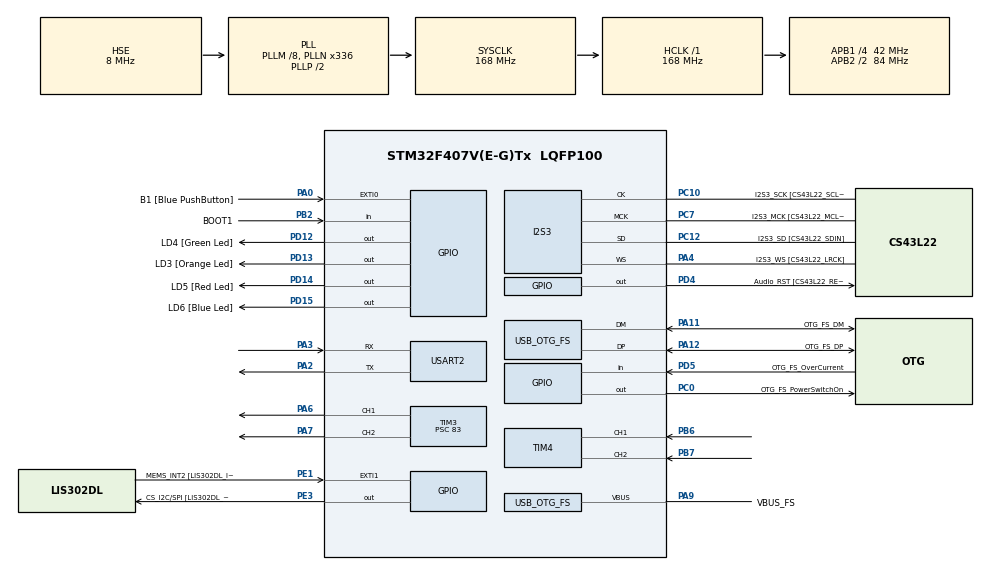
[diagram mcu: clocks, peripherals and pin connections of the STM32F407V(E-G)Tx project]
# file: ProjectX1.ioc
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I2S3.AudioFreq-Half_Duplex_Master=I2S_AUDIOFREQ_96K
I2S3.ErrorAudioFreq=-2.34 %
I2S3.ErrorAudioFreq-Half_Duplex_Master=0.8 %
I2S3.FullDuplexMode=I2S_FULLDUPLEXMODE_DISABLE
I2S3.Instance=SPI$Index
I2S3.RealAudioFreq=93.75 KHz
I2S3.RealAudioFreq-Half_Duplex_Master=96.774 KHz
I2S3.VirtualMode=I2S_MODE_MASTER
Mcu.Family=STM32F4
Mcu.Name=STM32F407V(E-G)Tx
Mcu.Package=LQFP100
NVIC.OTG_FS_IRQn=true\:0\:0\:false\:false\:true\:true\:true\:true
NVIC.PriorityGroup=NVIC_PRIORITYGROUP_0
NVIC.TIM6_DAC_IRQn=true\:0\:0\:false\:false\:true\:true\:true\:true
PA0-WKUP.GPIO_Label=B1 [Blue PushButton]
PA0-WKUP.GPIO_ModeDefaultEXTI=GPIO_MODE_EVT_RISING
PA0-WKUP.GPIO_PuPd=GPIO_NOPULL
PA0-WKUP.Signal=GPXTI0
PA10.GPIO_Label=OTG_FS_ID
PA10.GPIO_Mode=GPIO_MODE_AF_PP
PA10.GPIO_PuPd=GPIO_NOPULL
PA10.GPIO_Speed=GPIO_SPEED_FREQ_LOW
PA10.Signal=USB_OTG_FS_ID
PA11.GPIO_Label=OTG_FS_DM
PA11.GPIO_Mode=GPIO_MODE_AF_PP
PA11.GPIO_PuPd=GPIO_NOPULL
PA11.GPIO_Speed=GPIO_SPEED_FREQ_LOW
PA11.Mode=Host_Only
PA11.Signal=USB_OTG_FS_DM
PA12.GPIO_Label=OTG_FS_DP
PA12.GPIO_Mode=GPIO_MODE_AF_PP
PA12.GPIO_PuPd=GPIO_NOPULL
PA12.GPIO_Speed=GPIO_SPEED_FREQ_LOW
PA12.Mode=Host_Only
PA12.Signal=USB_OTG_FS_DP
PA13.GPIO_Label=SWDIO
PA13.Mode=Serial_Wire
PA13.Signal=SYS_JTMS-SWDIO
PA14.GPIO_Label=SWCLK
PA14.Mode=Serial_Wire
PA14.Signal=SYS_JTCK-SWCLK
PA2.Mode=Asynchronous
PA2.Signal=USART2_TX
PA3.Mode=Asynchronous
PA3.Signal=USART2_RX
PA4.GPIO_Label=I2S3_WS [CS43L22_LRCK]
PA4.GPIO_Mode=GPIO_MODE_AF_PP
PA4.GPIO_PuPd=GPIO_NOPULL
PA4.GPIO_Speed=GPIO_SPEED_FREQ_LOW
PA4.Mode=Half_Duplex_Master
PA4.Signal=I2S3_WS
PA5.GPIO_Label=SPI1_SCK [LIS302DL_SCL/SPC]
PA5.GPIO_Mode=GPIO_MODE_AF_PP
PA5.GPIO_PuPd=GPIO_NOPULL
PA5.GPIO_Speed=GPIO_SPEED_FREQ_LOW
PA5.Signal=SPI1_SCK
PA6.Signal=S_TIM3_CH1
PA7.Signal=S_TIM3_CH2
PA9.GPIO_Label=VBUS_FS
PA9.GPIO_Mode=GPIO_MODE_INPUT
PA9.GPIO_PuPd=GPIO_NOPULL
PA9.Mode=Activate_VBUS
PA9.Signal=USB_OTG_FS_VBUS
PB10.GPIO_Label=CLK_IN [MP45DT02_CLK]
PB10.GPIO_Mode=GPIO_MODE_AF_PP
PB10.GPIO_PuPd=GPIO_NOPULL
PB10.GPIO_Speed=GPIO_SPEED_FREQ_LOW
PB10.Signal=I2S2_CK
PB2.GPIO_Label=BOOT1
PB2.GPIO_Mode=GPIO_MODE_INPUT
PB2.GPIO_PuPd=GPIO_NOPULL
PB2.Signal=GPIO_Input
PB3.GPIO_Label=SWO
PB3.Signal=SYS_JTDO-SWO
PB6.Signal=S_TIM4_CH1
PB7.Signal=S_TIM4_CH2
PB9.GPIO_Label=Audio_SDA [CS43L22_SDA]
PB9.GPIO_Mode=GPIO_MODE_AF_OD
PB9.GPIO_Pu=GPIO_PULLUP
PB9.GPIO_PuPd=GPIO_NOPULL
PB9.GPIO_Speed=GPIO_SPEED_FREQ_LOW
PB9.Signal=I2C1_SDA
PC0.GPIO_Label=OTG_FS_PowerSwitchOn
PC0.GPIO_PuPd=GPIO_NOPULL
PC0.GPIO_Speed=GPIO_SPEED_FREQ_LOW
PC0.PinState=GPIO_PIN_SET
PC0.Signal=GPIO_Output
PC10.GPIO_Label=I2S3_SCK [CS43L22_SCLK]
PC10.GPIO_Mode=GPIO_MODE_AF_PP
PC10.GPIO_PuPd=GPIO_NOPULL
PC10.GPIO_Speed=GPIO_SPEED_FREQ_LOW
PC10.Mode=Half_Duplex_Master
PC10.Signal=I2S3_CK
PC12.GPIO_Label=I2S3_SD [CS43L22_SDIN]
PC12.GPIO_Mode=GPIO_MODE_AF_PP
PC12.GPIO_PuPd=GPIO_NOPULL
PC12.GPIO_Speed=GPIO_SPEED_FREQ_LOW
PC12.Mode=Half_Duplex_Master
PC12.Signal=I2S3_SD
PC14-OSC32_IN.GPIO_Label=PC14-OSC32_IN
PC14-OSC32_IN.Mode=LSE-External-Oscillator
PC14-OSC32_IN.Signal=RCC_OSC32_IN
PC15-OSC32_OUT.GPIO_Label=PC15-OSC32_OUT
PC15-OSC32_OUT.Mode=LSE-External-Oscillator
PC15-OSC32_OUT.Signal=RCC_OSC32_OUT
PC3.GPIO_Label=PDM_OUT [MP45DT02_DOUT]
PC3.GPIO_Mode=GPIO_MODE_AF_PP
PC3.GPIO_PuPd=GPIO_NOPULL
PC3.GPIO_Speed=GPIO_SPEED_FREQ_LOW
PC3.Signal=I2S2_SD
PC7.GPIO_Label=I2S3_MCK [CS43L22_MCLK]
PC7.GPIO_Mode=GPIO_MODE_AF_PP
PC7.GPIO_PuPd=GPIO_NOPULL
PC7.GPIO_Speed=GPIO_SPEED_FREQ_LOW
PC7.Mode=Master_Clock_Activated
PC7.Signal=I2S3_MCK
PD12.GPIO_Label=LD4 [Green Led]
PD12.GPIO_PuPd=GPIO_NOPULL
PD12.GPIO_Speed=GPIO_SPEED_FREQ_LOW
PD12.Signal=GPIO_Output
PD13.GPIO_Label=LD3 [Orange Led]
PD13.GPIO_PuPd=GPIO_NOPULL
PD13.GPIO_Speed=GPIO_SPEED_FREQ_LOW
PD13.Signal=GPIO_Output
PD14.GPIO_Label=LD5 [Red Led]
PD14.GPIO_PuPd=GPIO_NOPULL
PD14.GPIO_Speed=GPIO_SPEED_FREQ_LOW
PD14.Signal=GPIO_Output
PD15.GPIO_Label=LD6 [Blue Led]
PD15.GPIO_PuPd=GPIO_NOPULL
PD15.GPIO_Speed=GPIO_SPEED_FREQ_LOW
PD15.Signal=GPIO_Output
PD4.GPIO_Label=Audio_RST [CS43L22_RESET]
PD4.GPIO_PuPd=GPIO_NOPULL
PD4.GPIO_Speed=GPIO_SPEED_FREQ_LOW
PD4.Signal=GPIO_Output
PD5.GPIO_Label=OTG_FS_OverCurrent
PD5.GPIO_Mode=GPIO_MODE_INPUT
PD5.GPIO_PuPd=GPIO_NOPULL
PD5.Signal=GPIO_Input
PE1.GPIO_Label=MEMS_INT2 [LIS302DL_INT2]
PE1.GPIO_ModeDefaultEXTI=GPIO_MODE_EVT_RISING
PE1.GPIO_PuPd=GPIO_NOPULL
PE1.Signal=GPXTI1
PE3.GPIO_Label=CS_I2C/SPI [LIS302DL_CS_I2C/SPI]
PE3.GPIO_PuPd=GPIO_NOPULL
PE3.GPIO_Speed=GPIO_SPEED_FREQ_LOW
PE3.Signal=GPIO_Output
PH0-OSC_IN.GPIO_Label=PH0-OSC_IN
PH0-OSC_IN.Mode=HSE-External-Oscillator
PH0-OSC_IN.Signal=RCC_OSC_IN
PH1-OSC_OUT.GPIO_Label=PH1-OSC_OUT
PH1-OSC_OUT.Mode=HSE-External-Oscillator
PH1-OSC_OUT.Signal=RCC_OSC_OUT
ProjectManager.HeapSize=0x200
ProjectManager.StackSize=0x400
ProjectManager.TargetToolchain=STM32CubeIDE
RCC.48MHZClocksFreq_Value=48000000
RCC.AHBFreq_Value=168000000
RCC.APB1CLKDivider=RCC_HCLK_DIV4
RCC.APB1Freq_Value=42000000
RCC.APB1TimFreq_Value=84000000
RCC.APB2CLKDivider=RCC_HCLK_DIV2
RCC.APB2Freq_Value=84000000
RCC.APB2TimFreq_Value=168000000
RCC.CortexFreq_Value=168000000
RCC.HCLKFreq_Value=168000000
RCC.HSE_VALUE=8000000
RCC.HSI_VALUE=16000000
RCC.PLLM=8
RCC.PLLN=336
RCC.PLLQ=7
RCC.SYSCLKFreq_VALUE=168000000
RCC.SYSCLKSource=RCC_SYSCLKSOURCE_PLLCLK
RCC.VCOOutputFreq_Value=336000000
SH.S_TIM3_CH1.0=TIM3_CH1,PWM Generation1 CH1
SH.S_TIM3_CH2.0=TIM3_CH2,Output Compare2 CH2
SH.S_TIM4_CH1.0=TIM4_CH1,Encoder_Interface
SH.S_TIM4_CH2.0=TIM4_CH2,Encoder_Interface
TIM3.Channel-Output\ Compare2\ CH2=TIM_CHANNEL_2
TIM3.Channel-PWM\ Generation1\ CH1=TIM_CHANNEL_1
TIM3.Period=99
TIM3.Prescaler=83
TIM4.EncoderMode=TIM_ENCODERMODE_TI12
TIM6.AutoReloadPreload=TIM_AUTORELOAD_PRELOAD_DISABLE
TIM6.Period=99
TIM6.Prescaler=8399
USART2.VirtualMode=VM_ASYNC
USB_HOST.BSP.number=1
USB_HOST.USBH_HandleTypeDef-CDC_FS=hUsbHostFS
USB_HOST.VirtualModeFS=Cdc
USB_HOST0.BSP.STBoard=false
USB_HOST0.BSP.api=Unknown
USB_HOST0.BSP.instance=PC0
USB_HOST0.BSP.ip=GPIO
USB_HOST0.BSP.mode=Output
USB_HOST0.BSP.name=Drive_VBUS_FS
USB_HOST0.BSP.solution=PC0
USB_OTG_FS.VirtualMode=Host_Only
USB_OTG_FS.phy_itface=HCD_PHY_EMBEDDED
VP_TIM6_VS_ClockSourceINT.Mode=Enable_Timer
VP_USB_HOST_VS_USB_HOST_CDC_FS.Mode=CDC_FS
board=STM32F407G-DISC1

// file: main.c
/* USER CODE BEGIN Header */

/**
  ******************************************************************************
  * @file           : main.c
  * @brief          : Main program body
  ******************************************************************************
  * @attention
  *
  * Copyright (c) 2026 STMicroelectronics.
  * All rights reserved.
  *
  * This software is licensed under terms that can be found in the LICENSE file
  * in the root directory of this software component.
  * If no LICENSE file comes with this software, it is provided AS-IS.
  *
  ******************************************************************************
  */

/* USER CODE END Header */

#include "main.h"
#include "usb_host.h"

/* USER CODE BEGIN Includes */

#include "pid.h"
#include "motor_control.h"

#include <stdio.h>
#include <string.h>

/* USER CODE END Includes */

I2S_HandleTypeDef hi2s3;

TIM_HandleTypeDef htim3;
TIM_HandleTypeDef htim4;
TIM_HandleTypeDef htim6;

UART_HandleTypeDef huart2;

/* USER CODE BEGIN PV */

/*
 * Main motor controller object.
 */
MotorController_t motor;

/*
 * Flag used to tell the main loop that
 * a new control calculation has occurred.
 *
 * This variable is modified inside the TIM6
 * interrupt and read inside the main loop.
 */
volatile uint8_t control_update_flag = 0;

/* USER CODE END PV */

void SystemClock_Config(void);

static void MX_GPIO_Init(void);
static void MX_I2S3_Init(void);
static void MX_TIM3_Init(void);
static void MX_TIM4_Init(void);
static void MX_TIM6_Init(void);
static void MX_USART2_UART_Init(void);

void MX_USB_HOST_Process(void);

/* USER CODE BEGIN PFP */

/*
 * Set TIM3 PWM duty cycle.
 */
static void Motor_SetPWM(float percentage);

/*
 * Send a string through USART2.
 */
static void UART_SendString(const char *message);

/* USER CODE END PFP */

int main(void)
{

    /* MCU Configuration--------------------------------------------------------*/

    /*
     * Reset of all peripherals,
     * Initializes the Flash interface and the Systick.
     */
    HAL_Init();

    /*
     * Configure the system clock.
     */
    SystemClock_Config();

    /*
     * Initialize all configured peripherals.
     */
    MX_GPIO_Init();

    MX_I2S3_Init();

    MX_USB_HOST_Init();

    MX_TIM3_Init();

    MX_TIM4_Init();

    MX_TIM6_Init();

    MX_USART2_UART_Init();

    /* USER CODE BEGIN 2 */

    /*
     * Initialize the motor controller.
     */
    MotorController_Init(&motor);

    /*
     * Set desired motor speed.
     *
     * Target = 1500 RPM
     */
    MotorController_SetTarget(&motor, 1500.0f);

    /*
     * Start TIM3 PWM.
     *
     * TIM3 CH1 -> PA6
     */
    if (HAL_TIM_PWM_Start(&htim3, TIM_CHANNEL_1) != HAL_OK)
    {
        Error_Handler();
    }

    /*
     * Start TIM4 encoder interface.
     *
     * TIM4 CH1 -> PB6
     * TIM4 CH2 -> PB7
     */
    if (HAL_TIM_Encoder_Start(&htim4, TIM_CHANNEL_ALL) != HAL_OK)
    {
        Error_Handler();
    }

    /*
     * Reset encoder counter to zero.
     */
    __HAL_TIM_SET_COUNTER(&htim4, 0);

    /*
     * Start TIM6 in interrupt mode.
     *
     * TIM6:
     *
     * 100 Hz
     * 10 ms period
     */
    if (HAL_TIM_Base_Start_IT(&htim6) != HAL_OK)
    {
        Error_Handler();
    }

    /*
     * Start with 0% PWM.
     */
    Motor_SetPWM(0.0f);

    /* USER CODE END 2 */

    /* Infinite loop */

    /* USER CODE BEGIN WHILE */

    while (1)
    {
        /* USER CODE BEGIN 3 */

        /*
         * Keep USB Host processing because this project
         * was originally generated with the Discovery
         * USB Host middleware.
         */
        MX_USB_HOST_Process();

        /*
         * Check whether the TIM6 control loop has
         * completed a new calculation.
         */
        if (control_update_flag)
        {
            char message[120];

            /*
             * Clear the flag.
             */
            control_update_flag = 0;

            /*
             * Format motor information.
             */
            sprintf(message,
                    "Target: %.1f RPM | Actual: %.1f RPM | PWM: %.1f %%\r\n",
                    motor.target_rpm,
                    motor.actual_rpm,
                    motor.pwm_percent);

            /*
             * Send information to PC through USART2.
             */
            UART_SendString(message);
        }

        /* USER CODE END 3 */
    }

    /* USER CODE END WHILE */
}

void SystemClock_Config(void)
{
    RCC_OscInitTypeDef RCC_OscInitStruct = {0};

    RCC_ClkInitTypeDef RCC_ClkInitStruct = {0};

    /*
     * Configure the main internal regulator output voltage.
     */
    __HAL_RCC_PWR_CLK_ENABLE();

    __HAL_PWR_VOLTAGESCALING_CONFIG(PWR_REGULATOR_VOLTAGE_SCALE1);

    /*
     * Configure HSE and PLL.
     */
    RCC_OscInitStruct.OscillatorType = RCC_OSCILLATORTYPE_HSE;

    RCC_OscInitStruct.HSEState = RCC_HSE_ON;

    RCC_OscInitStruct.PLL.PLLState = RCC_PLL_ON;

    RCC_OscInitStruct.PLL.PLLSource = RCC_PLLSOURCE_HSE;

    RCC_OscInitStruct.PLL.PLLM = 8;

    RCC_OscInitStruct.PLL.PLLN = 336;

    RCC_OscInitStruct.PLL.PLLP = RCC_PLLP_DIV2;

    RCC_OscInitStruct.PLL.PLLQ = 7;

    if (HAL_RCC_OscConfig(&RCC_OscInitStruct) != HAL_OK)
    {
        Error_Handler();
    }

    /*
     * Configure CPU, AHB and APB buses clocks.
     */
    RCC_ClkInitStruct.ClockType =
        RCC_CLOCKTYPE_HCLK |
        RCC_CLOCKTYPE_SYSCLK |
        RCC_CLOCKTYPE_PCLK1 |
        RCC_CLOCKTYPE_PCLK2;

    RCC_ClkInitStruct.SYSCLKSource = RCC_SYSCLKSOURCE_PLLCLK;

    RCC_ClkInitStruct.AHBCLKDivider = RCC_SYSCLK_DIV1;

    RCC_ClkInitStruct.APB1CLKDivider = RCC_HCLK_DIV4;

    RCC_ClkInitStruct.APB2CLKDivider = RCC_HCLK_DIV2;

    if (HAL_RCC_ClockConfig(&RCC_ClkInitStruct,
                            FLASH_LATENCY_5) != HAL_OK)
    {
        Error_Handler();
    }
}

static void MX_I2S3_Init(void)
{

    hi2s3.Instance = SPI3;

    hi2s3.Init.Mode = I2S_MODE_MASTER_TX;

    hi2s3.Init.Standard = I2S_STANDARD_PHILIPS;

    hi2s3.Init.DataFormat = I2S_DATAFORMAT_16B;

    hi2s3.Init.MCLKOutput = I2S_MCLKOUTPUT_ENABLE;

    hi2s3.Init.AudioFreq = I2S_AUDIOFREQ_96K;

    hi2s3.Init.CPOL = I2S_CPOL_LOW;

    hi2s3.Init.ClockSource = I2S_CLOCK_PLL;

    hi2s3.Init.FullDuplexMode = I2S_FULLDUPLEXMODE_DISABLE;

    if (HAL_I2S_Init(&hi2s3) != HAL_OK)
    {
        Error_Handler();
    }

}

static void MX_TIM3_Init(void)
{

    TIM_MasterConfigTypeDef sMasterConfig = {0};

    TIM_OC_InitTypeDef sConfigOC = {0};

    /*
     * TIM3 configuration.
     *
     * Timer clock = 84 MHz
     *
     * Prescaler = 83
     *
     * 84 MHz / (83 + 1)
     * = 1 MHz
     *
     * Period = 99
     *
     * 1 MHz / (99 + 1)
     * = 10 kHz PWM
     */
    htim3.Instance = TIM3;

    htim3.Init.Prescaler = 83;

    htim3.Init.CounterMode = TIM_COUNTERMODE_UP;

    htim3.Init.Period = 99;

    htim3.Init.ClockDivision = TIM_CLOCKDIVISION_DIV1;

    htim3.Init.AutoReloadPreload =
        TIM_AUTORELOAD_PRELOAD_DISABLE;

    /*
     * IMPORTANT:
     *
     * TIM3 is PWM.
     *
     * Do NOT use HAL_TIM_OC_Init().
     */
    if (HAL_TIM_PWM_Init(&htim3) != HAL_OK)
    {
        Error_Handler();
    }

    /*
     * Master configuration.
     */
    sMasterConfig.MasterOutputTrigger =
        TIM_TRGO_RESET;

    sMasterConfig.MasterSlaveMode =
        TIM_MASTERSLAVEMODE_DISABLE;

    if (HAL_TIMEx_MasterConfigSynchronization(
            &htim3,
            &sMasterConfig) != HAL_OK)
    {
        Error_Handler();
    }

    /*
     * TIM3 Channel 1 PWM configuration.
     */
    sConfigOC.OCMode = TIM_OCMODE_PWM1;

    sConfigOC.Pulse = 0;

    sConfigOC.OCPolarity = TIM_OCPOLARITY_HIGH;

    sConfigOC.OCFastMode = TIM_OCFAST_DISABLE;

    if (HAL_TIM_PWM_ConfigChannel(
            &htim3,
            &sConfigOC,
            TIM_CHANNEL_1) != HAL_OK)
    {
        Error_Handler();
    }

    /*
     * Configure TIM3 GPIO.
     *
     * PA6 -> TIM3_CH1
     */
    HAL_TIM_MspPostInit(&htim3);

}

static void MX_TIM4_Init(void)
{

    TIM_Encoder_InitTypeDef sConfig = {0};

    TIM_MasterConfigTypeDef sMasterConfig = {0};

    /*
     * TIM4 Encoder configuration.
     *
     * TIM4:
     *
     * CH1 -> PB6
     * CH2 -> PB7
     */
    htim4.Instance = TIM4;

    htim4.Init.Prescaler = 0;

    htim4.Init.CounterMode = TIM_COUNTERMODE_UP;

    htim4.Init.Period = 65535;

    htim4.Init.ClockDivision = TIM_CLOCKDIVISION_DIV1;

    htim4.Init.AutoReloadPreload =
        TIM_AUTORELOAD_PRELOAD_DISABLE;

    /*
     * Quadrature encoder mode.
     */
    sConfig.EncoderMode =
        TIM_ENCODERMODE_TI12;

    /*
     * Encoder Channel 1.
     */
    sConfig.IC1Polarity =
        TIM_ICPOLARITY_RISING;

    sConfig.IC1Selection =
        TIM_ICSELECTION_DIRECTTI;

    sConfig.IC1Prescaler =
        TIM_ICPSC_DIV1;

    sConfig.IC1Filter = 0;

    /*
     * Encoder Channel 2.
     */
    sConfig.IC2Polarity =
        TIM_ICPOLARITY_RISING;

    sConfig.IC2Selection =
        TIM_ICSELECTION_DIRECTTI;

    sConfig.IC2Prescaler =
        TIM_ICPSC_DIV1;

    sConfig.IC2Filter = 0;

    /*
     * Initialize encoder interface.
     */
    if (HAL_TIM_Encoder_Init(&htim4,
                             &sConfig) != HAL_OK)
    {
        Error_Handler();
    }

    /*
     * Master configuration.
     */
    sMasterConfig.MasterOutputTrigger =
        TIM_TRGO_RESET;

    sMasterConfig.MasterSlaveMode =
        TIM_MASTERSLAVEMODE_DISABLE;

    if (HAL_TIMEx_MasterConfigSynchronization(
            &htim4,
            &sMasterConfig) != HAL_OK)
    {
        Error_Handler();
    }

}

static void MX_TIM6_Init(void)
{

    TIM_MasterConfigTypeDef sMasterConfig = {0};

    /*
     * TIM6 configuration.
     *
     * Timer clock = 84 MHz
     *
     * Prescaler = 8399
     *
     * 84 MHz / 8400
     * = 10 kHz
     *
     * Period = 99
     *
     * 10 kHz / 100
     * = 100 Hz
     *
     * Period = 10 ms
     */
    htim6.Instance = TIM6;

    htim6.Init.Prescaler = 8399;

    htim6.Init.CounterMode =
        TIM_COUNTERMODE_UP;

    htim6.Init.Period = 99;

    htim6.Init.AutoReloadPreload =
        TIM_AUTORELOAD_PRELOAD_DISABLE;

    /*
     * Initialize TIM6 base timer.
     */
    if (HAL_TIM_Base_Init(&htim6) != HAL_OK)
    {
        Error_Handler();
    }

    /*
     * Master configuration.
     */
    sMasterConfig.MasterOutputTrigger =
        TIM_TRGO_RESET;

    sMasterConfig.MasterSlaveMode =
        TIM_MASTERSLAVEMODE_DISABLE;

    if (HAL_TIMEx_MasterConfigSynchronization(
            &htim6,
            &sMasterConfig) != HAL_OK)
    {
        Error_Handler();
    }

}

static void MX_USART2_UART_Init(void)
{

    huart2.Instance = USART2;

    huart2.Init.BaudRate = 115200;

    huart2.Init.WordLength =
        UART_WORDLENGTH_8B;

    huart2.Init.StopBits =
        UART_STOPBITS_1;

    huart2.Init.Parity =
        UART_PARITY_NONE;

    huart2.Init.Mode =
        UART_MODE_TX_RX;

    huart2.Init.HwFlowCtl =
        UART_HWCONTROL_NONE;

    huart2.Init.OverSampling =
        UART_OVERSAMPLING_16;

    if (HAL_UART_Init(&huart2) != HAL_OK)
    {
        Error_Handler();
    }

}

static void MX_GPIO_Init(void)
{
    GPIO_InitTypeDef GPIO_InitStruct = {0};

    /* GPIO Ports Clock Enable */

    __HAL_RCC_GPIOE_CLK_ENABLE();

    __HAL_RCC_GPIOC_CLK_ENABLE();

    __HAL_RCC_GPIOH_CLK_ENABLE();

    __HAL_RCC_GPIOA_CLK_ENABLE();

    __HAL_RCC_GPIOB_CLK_ENABLE();

    __HAL_RCC_GPIOD_CLK_ENABLE();

    /* Configure GPIO pin Output Level */

    HAL_GPIO_WritePin(
        CS_I2C_SPI_GPIO_Port,
        CS_I2C_SPI_Pin,
        GPIO_PIN_RESET);

    /* Configure GPIO pin Output Level */

    HAL_GPIO_WritePin(
        OTG_FS_PowerSwitchOn_GPIO_Port,
        OTG_FS_PowerSwitchOn_Pin,
        GPIO_PIN_SET);

    /* Configure GPIO pin Output Level */

    HAL_GPIO_WritePin(
        GPIOD,
        LD4_Pin |
        LD3_Pin |
        LD5_Pin |
        LD6_Pin |
        Audio_RST_Pin,
        GPIO_PIN_RESET);

    /* Configure GPIO pin : CS_I2C_SPI_Pin */

    GPIO_InitStruct.Pin =
        CS_I2C_SPI_Pin;

    GPIO_InitStruct.Mode =
        GPIO_MODE_OUTPUT_PP;

    GPIO_InitStruct.Pull =
        GPIO_NOPULL;

    GPIO_InitStruct.Speed =
        GPIO_SPEED_FREQ_LOW;

    HAL_GPIO_Init(
        CS_I2C_SPI_GPIO_Port,
        &GPIO_InitStruct);

    /* Configure GPIO pin : OTG_FS_PowerSwitchOn_Pin */

    GPIO_InitStruct.Pin =
        OTG_FS_PowerSwitchOn_Pin;

    GPIO_InitStruct.Mode =
        GPIO_MODE_OUTPUT_PP;

    GPIO_InitStruct.Pull =
        GPIO_NOPULL;

    GPIO_InitStruct.Speed =
        GPIO_SPEED_FREQ_LOW;

    HAL_GPIO_Init(
        OTG_FS_PowerSwitchOn_GPIO_Port,
        &GPIO_InitStruct);

    /* Configure GPIO pin : PDM_OUT_Pin */

    GPIO_InitStruct.Pin =
        PDM_OUT_Pin;

    GPIO_InitStruct.Mode =
        GPIO_MODE_AF_PP;

    GPIO_InitStruct.Pull =
        GPIO_NOPULL;

    GPIO_InitStruct.Speed =
        GPIO_SPEED_FREQ_LOW;

    GPIO_InitStruct.Alternate =
        GPIO_AF5_SPI2;

    HAL_GPIO_Init(
        PDM_OUT_GPIO_Port,
        &GPIO_InitStruct);

    /* Configure GPIO pin : B1_Pin */

    GPIO_InitStruct.Pin =
        B1_Pin;

    GPIO_InitStruct.Mode =
        GPIO_MODE_EVT_RISING;

    GPIO_InitStruct.Pull =
        GPIO_NOPULL;

    HAL_GPIO_Init(
        B1_GPIO_Port,
        &GPIO_InitStruct);

    /* Configure GPIO pin : SPI1_SCK_Pin */

    GPIO_InitStruct.Pin =
        SPI1_SCK_Pin;

    GPIO_InitStruct.Mode =
        GPIO_MODE_AF_PP;

    GPIO_InitStruct.Pull =
        GPIO_NOPULL;

    GPIO_InitStruct.Speed =
        GPIO_SPEED_FREQ_LOW;

    GPIO_InitStruct.Alternate =
        GPIO_AF5_SPI1;

    HAL_GPIO_Init(
        SPI1_SCK_GPIO_Port,
        &GPIO_InitStruct);

    /* Configure GPIO pin : BOOT1_Pin */

    GPIO_InitStruct.Pin =
        BOOT1_Pin;

    GPIO_InitStruct.Mode =
        GPIO_MODE_INPUT;

    GPIO_InitStruct.Pull =
        GPIO_NOPULL;

    HAL_GPIO_Init(
        BOOT1_GPIO_Port,
        &GPIO_InitStruct);

    /* Configure GPIO pin : CLK_IN_Pin */

    GPIO_InitStruct.Pin =
        CLK_IN_Pin;

    GPIO_InitStruct.Mode =
        GPIO_MODE_AF_PP;

    GPIO_InitStruct.Pull =
        GPIO_NOPULL;

    GPIO_InitStruct.Speed =
        GPIO_SPEED_FREQ_LOW;

    GPIO_InitStruct.Alternate =
        GPIO_AF5_SPI2;

    HAL_GPIO_Init(
        CLK_IN_GPIO_Port,
        &GPIO_InitStruct);

    /* Configure GPIO pins :
       LD4_Pin
       LD3_Pin
       LD5_Pin
       LD6_Pin
       Audio_RST_Pin
    */

    GPIO_InitStruct.Pin =
        LD4_Pin |
        LD3_Pin |
        LD5_Pin |
        LD6_Pin |
        Audio_RST_Pin;

    GPIO_InitStruct.Mode =
        GPIO_MODE_OUTPUT_PP;

    GPIO_InitStruct.Pull =
        GPIO_NOPULL;

    GPIO_InitStruct.Speed =
        GPIO_SPEED_FREQ_LOW;

    HAL_GPIO_Init(
        GPIOD,
        &GPIO_InitStruct);

    /* Configure GPIO pin : OTG_FS_OverCurrent_Pin */

    GPIO_InitStruct.Pin =
        OTG_FS_OverCurrent_Pin;

    GPIO_InitStruct.Mode =
        GPIO_MODE_INPUT;

    GPIO_InitStruct.Pull =
        GPIO_NOPULL;

    HAL_GPIO_Init(
        OTG_FS_OverCurrent_GPIO_Port,
        &GPIO_InitStruct);

    /* Configure GPIO pin : Audio_SDA_Pin */

    GPIO_InitStruct.Pin =
        Audio_SDA_Pin;

    GPIO_InitStruct.Mode =
        GPIO_MODE_AF_OD;

    GPIO_InitStruct.Pull =
        GPIO_PULLUP;

    GPIO_InitStruct.Speed =
        GPIO_SPEED_FREQ_LOW;

    GPIO_InitStruct.Alternate =
        GPIO_AF4_I2C1;

    HAL_GPIO_Init(
        Audio_SDA_GPIO_Port,
        &GPIO_InitStruct);

    /* Configure GPIO pin : MEMS_INT2_Pin */

    GPIO_InitStruct.Pin =
        MEMS_INT2_Pin;

    GPIO_InitStruct.Mode =
        GPIO_MODE_EVT_RISING;

    GPIO_InitStruct.Pull =
        GPIO_NOPULL;

    HAL_GPIO_Init(
        MEMS_INT2_GPIO_Port,
        &GPIO_InitStruct);

    /*
     * IMPORTANT:
     *
     * TIM3/TIM4/USART2 pins are configured by
     * their HAL MSP initialization functions:
     *
     * PA6 -> TIM3_CH1
     * PB6 -> TIM4_CH1
     * PB7 -> TIM4_CH2
     * PA2 -> USART2_TX
     * PA3 -> USART2_RX
     *
     * These should be generated by CubeMX.
     */

}

/* USER CODE BEGIN 4 */

/**
  * @brief Set TIM3 PWM duty cycle.
  *
  * @param percentage PWM duty cycle from 0 to 100.
  */

static void Motor_SetPWM(float percentage)
{
    uint32_t arr;

    uint32_t compare;

    /*
     * Limit PWM to 0...100%.
     */
    if (percentage < 0.0f)
    {
        percentage = 0.0f;
    }

    if (percentage > 100.0f)
    {
        percentage = 100.0f;
    }

    /*
     * Read TIM3 Auto Reload Register.
     *
     * Our configuration:
     *
     * ARR = 99
     */
    arr =
        __HAL_TIM_GET_AUTORELOAD(&htim3);

    /*
     * Convert percentage to compare value.
     */
    compare =
        (uint32_t)(
            (percentage / 100.0f) *
            (float)arr
        );

    /*
     * Update TIM3 Channel 1.
     *
     * TIM3 CH1 -> PA6
     */
    __HAL_TIM_SET_COMPARE(
        &htim3,
        TIM_CHANNEL_1,
        compare
    );
}

/**
  * @brief Send string through USART2.
  */

static void UART_SendString(const char *message)
{
    HAL_UART_Transmit(
        &huart2,
        (uint8_t *)message,
        strlen(message),
        100
    );
}

/**
  * @brief Timer Period Elapsed Callback.
  *
  * TIM6 calls this function every 10 ms.
  */

void HAL_TIM_PeriodElapsedCallback(
    TIM_HandleTypeDef *htim)
{
    /*
     * Make sure the interrupt came from TIM6.
     */
    if (htim->Instance == TIM6)
    {
        uint16_t encoder;

        /*
         * Read the TIM4 encoder counter.
         *
         * TIM4 = ENCODER
         *
         * TIM3 = PWM
         */
        encoder =
            (uint16_t)__HAL_TIM_GET_COUNTER(
                &htim4
            );

        /*
         * Update motor controller.
         *
         * dt = 0.01 second
         *
         * because TIM6 period = 10 ms.
         */
        MotorController_Update(
            &motor,
            encoder,
            0.01f
        );

        /*
         * Apply PID output to TIM3 PWM.
         */
        Motor_SetPWM(
            motor.pwm_percent
        );

        /*
         * Tell main loop that new data
         * is available.
         */
        control_update_flag = 1;
    }
}

/* USER CODE END 4 */

void Error_Handler(void)
{
    __disable_irq();
    while (1)
    {
    }
}

#ifdef USE_FULL_ASSERT

/**
  * @brief  Reports the name of the source file and the source line number
  *         where the assert_param error has occurred.
  * @param  file: pointer to the source file name
  * @param  line: assert_param error line source number
  * @retval None
  */

void assert_failed(uint8_t *file, uint32_t line)
{
    /* USER CODE BEGIN 6 */

    /*
     * User can add implementation here to report
     * the file name and line number.
     */

    /* USER CODE END 6 */
}

#endif /* USE_FULL_ASSERT */
